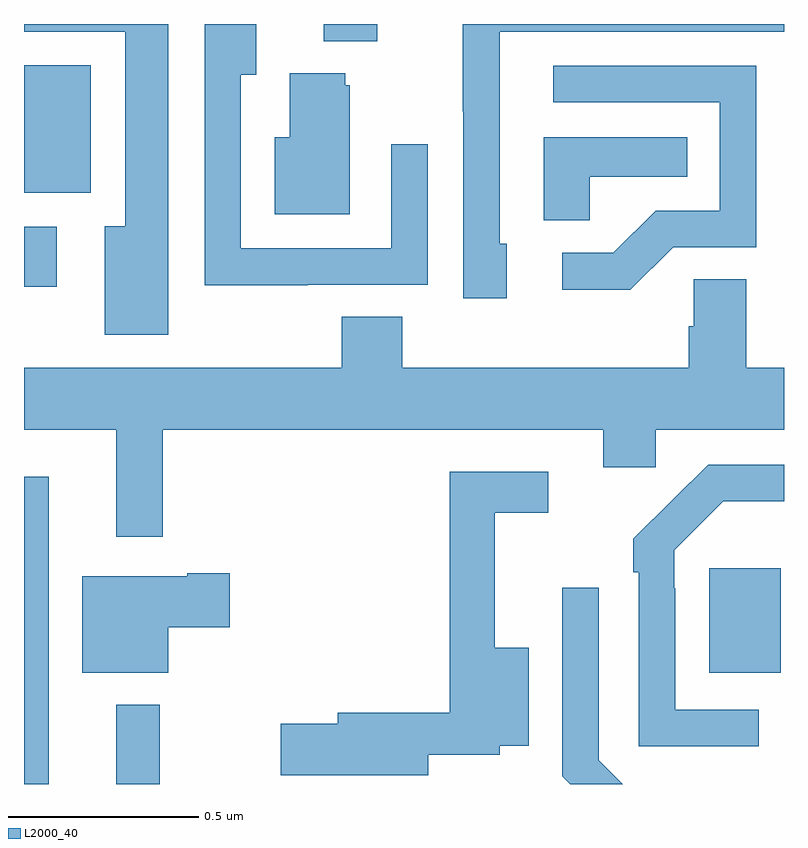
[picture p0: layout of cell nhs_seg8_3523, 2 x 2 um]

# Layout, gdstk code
import gdstk
lib = gdstk.Library(unit=1e-6, precision=1e-09)
def R(c, l, rs):  # rectangles x0, y0, x1, y1
    for r in rs: c.add(gdstk.rectangle(r[:2], r[2:], *l))
def P(c, l, *ps):  # polygons
    for p in ps: c.add(gdstk.Polygon(p, *l))
L2000_40 = (2000, 40)

nhs_seg8_3523 = lib.new_cell('nhs_seg8_3523')
R(nhs_seg8_3523, L2000_40, [(158,1116.9,158.065,1117.708), (158.243,1116.9,158.357,1117.108), (159.803,1117.193,159.991,1117.468), (158,1118.208,158.086,1118.367), (158,1118.456,158.176,1118.791), (158.789,1118.855,158.929,1118.9)])
P(nhs_seg8_3523, L2000_40, [(158.747,1118.214),(159.063,1118.214),(159.063,1118.584),(158.967,1118.584),(158.967,1118.31),(158.571,1118.31),(158.571,1118.767),(158.611,1118.767),(158.611,1118.9),(158.475,1118.9),(158.475,1118.213),(158.747,1118.213)],
  [(159.271,1118.322),(159.252,1118.322),(159.252,1118.88),(160,1118.88),(160,1118.9),(159.154,1118.9),(159.154,1118.671),(159.156,1118.671),(159.156,1118.178),(159.271,1118.178)],
  [(158.38,1118.9),(158,1118.9),(158,1118.88),(158.267,1118.88),(158.267,1118.368),(158.213,1118.368),(158.213,1118.082),(158.38,1118.082)],
  [(159.708,1118.313),(159.927,1118.313),(159.927,1118.79),(159.393,1118.79),(159.393,1118.694),(159.831,1118.694),(159.831,1118.409),(159.662,1118.409),(159.551,1118.298),(159.417,1118.298),(159.417,1118.201),(159.595,1118.201)],
  [(158.857,1118.739),(158.846,1118.739),(158.846,1118.77),(158.699,1118.77),(158.699,1118.602),(158.66,1118.602),(158.66,1118.399),(158.857,1118.399)],
  [(159.489,1118.498),(159.746,1118.498),(159.746,1118.602),(159.368,1118.602),(159.368,1118.383),(159.489,1118.383)],
  [(158.365,1117.832),(159.524,1117.832),(159.524,1117.734),(159.663,1117.734),(159.663,1117.832),(160,1117.832),(160,1117.996),(159.901,1117.996),(159.901,1118.228),(159.762,1118.228),(159.762,1118.105),(159.749,1118.105),(159.749,1117.996),(158.996,1117.996),(158.996,1118.129),(158.836,1118.129),(158.836,1117.996),(158,1117.996),(158,1117.832),(158.243,1117.832),(158.243,1117.551),(158.365,1117.551)],
  [(159.934,1117.095),(159.714,1117.095),(159.714,1117.415),(159.711,1117.415),(159.711,1117.515),(159.84,1117.644),(160,1117.644),(160,1117.74),(159.8,1117.74),(159.709,1117.649),(159.708,1117.65),(159.603,1117.545),(159.603,1117.457),(159.618,1117.457),(159.618,1116.999),(159.934,1116.999)],
  [(159.064,1116.977),(159.252,1116.977),(159.252,1117.001),(159.328,1117.001),(159.328,1117.258),(159.239,1117.258),(159.239,1117.614),(159.379,1117.614),(159.379,1117.722),(159.121,1117.722),(159.121,1117.088),(158.825,1117.088),(158.825,1117.058),(158.676,1117.058),(158.676,1116.923),(159.064,1116.923)],
  [(158.38,1117.313),(158.542,1117.313),(158.542,1117.455),(158.429,1117.455),(158.429,1117.447),(158.153,1117.447),(158.153,1117.193),(158.38,1117.193)],
  [(159.513,1116.963),(159.513,1117.417),(159.417,1117.417),(159.417,1116.921),(159.438,1116.9),(159.576,1116.9)])

lib.write_gds('nhs_seg8_3523.gds')
